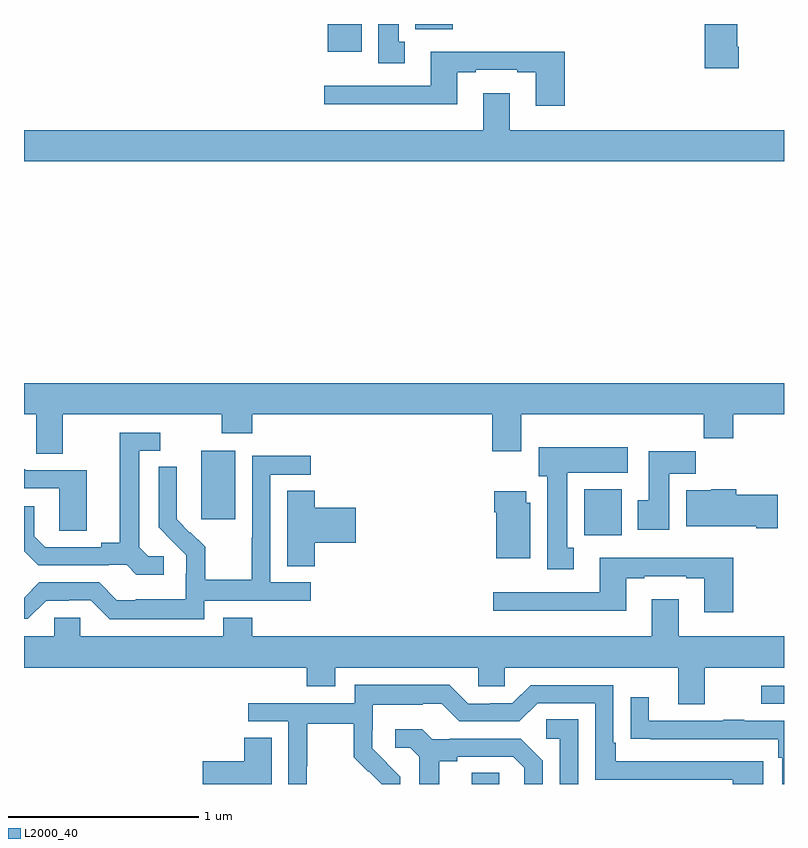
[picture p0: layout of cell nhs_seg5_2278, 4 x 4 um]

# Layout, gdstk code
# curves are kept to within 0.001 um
import gdstk
lib = gdstk.Library(unit=1e-6, precision=1e-09)
def R(c, l, rs):  # rectangles x0, y0, x1, y1
    for r in rs: c.add(gdstk.rectangle(r[:2], r[2:], *l))
def P(c, l, *ps):  # polygons
    for p in ps: c.add(gdstk.Polygon(p, *l))
L2000_40 = (2000, 40)

nhs_seg5_2278 = lib.new_cell('nhs_seg5_2278')
R(nhs_seg5_2278, L2000_40, [(245.357,870.799,245.502,870.857), (246.879,871.221,247,871.317), (245.948,872.108,246.145,872.35), (243.932,872.193,244.111,872.554), (244.598,874.652,244.777,874.799), (245.06,874.772,245.257,874.799)])
P(nhs_seg5_2278, L2000_40, [(246.762,874.678),(246.754,874.678),(246.754,874.799),(246.584,874.799),(246.584,874.566),(246.762,874.566)],
  [(245.005,874.706),(244.972,874.706),(244.972,874.799),(244.865,874.799),(244.865,874.593),(245.005,874.593)],
  [(245.846,874.654),(245.141,874.654),(245.141,874.473),(244.581,874.473),(244.581,874.376),(245.281,874.376),(245.281,874.545),(245.377,874.545),(245.377,874.557),(245.597,874.557),(245.597,874.545),(245.693,874.545),(245.693,874.368),(245.846,874.368)],
  [(247,874.24),(245.557,874.24),(245.557,874.435),(245.417,874.435),(245.417,874.24),(243,874.24),(243,874.076),(247,874.076)],
  [(243.205,872.744),(244.042,872.744),(244.042,872.645),(244.202,872.645),(244.202,872.744),(245.465,872.744),(245.465,872.55),(245.617,872.55),(245.617,872.744),(246.577,872.744),(246.577,872.62),(246.734,872.62),(246.734,872.744),(247,872.744),(247,872.908),(243,872.908),(243,872.744),(243.065,872.744),(243.065,872.536),(243.205,872.536)],
  [(243.736,871.998),(243.654,871.998),(243.607,872.045),(243.607,872.553),(243.718,872.553),(243.718,872.649),(243.503,872.649),(243.503,872.069),(243.407,872.069),(243.407,872.046),(243.112,872.046),(243.055,872.103),(243.055,872.26),(243,872.26),(243,872.024),(243.074,871.95),(243.446,871.95),(243.446,871.953),(243.54,871.953),(243.592,871.901),(243.736,871.901)],
  [(245.893,872.042),(245.86,872.042),(245.86,872.438),(246.178,872.438),(246.178,872.572),(245.708,872.572),(245.708,872.418),(245.753,872.418),(245.753,871.929),(245.893,871.929)],
  [(246.397,872.432),(246.536,872.432),(246.536,872.551),(246.287,872.551),(246.287,872.292),(246.23,872.292),(246.23,872.136),(246.397,872.136)],
  [(243.948,871.764),(244.51,871.764),(244.51,871.86),(244.296,871.86),(244.296,872.427),(244.51,872.427),(244.51,872.526),(244.2,872.526),(244.2,872.096),(244.198,872.096),(244.198,871.873),(243.953,871.873),(243.953,872.047),(243.876,872.124),(243.873,872.121),(243.803,872.192),(243.804,872.468),(243.708,872.468),(243.708,872.15),(243.854,872.002),(243.854,871.905),(243.852,871.905),(243.852,871.771),(243.589,871.771),(243.589,871.767),(243.489,871.767),(243.396,871.86),(243.081,871.86),(243,871.779),(243,871.668),(243.021,871.668),(243.117,871.764),(243.236,871.764),(243.236,871.767),(243.351,871.767),(243.451,871.667),(243.948,871.667)],
  [(243.331,872.451),(243.007,872.451),(243.007,872.455),(243,872.455),(243,872.355),(243.186,872.355),(243.186,872.131),(243.331,872.131)],
  [(246.967,872.322),(246.749,872.322),(246.749,872.35),(246.618,872.35),(246.618,872.344),(246.485,872.344),(246.485,872.156),(246.854,872.156),(246.854,872.144),(246.967,872.144)],
  [(244.529,872.069),(244.747,872.069),(244.747,872.252),(244.529,872.252),(244.529,872.342),(244.385,872.342),(244.385,871.945),(244.529,871.945)],
  [(245.665,872.28),(245.644,872.28),(245.644,872.341),(245.474,872.341),(245.474,872.228),(245.486,872.228),(245.486,871.988),(245.665,871.988)],
  [(246.734,871.99),(246.029,871.99),(246.029,871.809),(245.469,871.809),(245.469,871.712),(246.169,871.712),(246.169,871.881),(246.265,871.881),(246.265,871.893),(246.485,871.893),(246.485,871.881),(246.581,871.881),(246.581,871.704),(246.734,871.704)],
  [(246.583,871.412),(247,871.412),(247,871.576),(246.445,871.576),(246.445,871.771),(246.305,871.771),(246.305,871.576),(244.202,871.576),(244.202,871.675),(244.049,871.675),(244.049,871.576),(243.297,871.576),(243.297,871.674),(243.159,871.674),(243.159,871.576),(243,871.576),(243,871.412),(244.487,871.412),(244.487,871.313),(244.639,871.313),(244.639,871.412),(245.391,871.412),(245.391,871.314),(245.529,871.314),(245.529,871.412),(246.443,871.412),(246.443,871.218),(246.583,871.218)],
  [(244.488,870.892),(244.491,870.892),(244.491,871.116),(244.735,871.116),(244.735,870.941),(244.812,870.864),(244.815,870.867),(244.884,870.799),(244.98,870.799),(244.98,870.838),(244.834,870.986),(244.834,871.083),(244.836,871.083),(244.836,871.217),(245.099,871.217),(245.099,871.221),(245.199,871.221),(245.292,871.128),(245.607,871.128),(245.703,871.224),(246.006,871.224),(246.006,870.822),(246.731,870.822),(246.731,870.799),(246.892,870.799),(246.892,870.918),(246.115,870.918),(246.115,871.015),(246.102,871.015),(246.102,871.32),(245.667,871.32),(245.571,871.224),(245.453,871.224),(245.453,871.221),(245.337,871.221),(245.237,871.321),(244.74,871.321),(244.74,871.224),(244.179,871.224),(244.179,871.128),(244.392,871.128),(244.392,870.799),(244.488,870.799)],
  [(247,871.131),(246.791,871.131),(246.791,871.136),(246.679,871.136),(246.679,871.131),(246.289,871.131),(246.289,871.255),(246.193,871.255),(246.193,871.036),(246.295,871.036),(246.295,871.035),(246.97,871.035),(246.97,870.938),(246.99,870.938),(246.99,870.799),(247,870.799)],
  [(245.916,871.139),(245.748,871.139),(245.748,871.038),(245.82,871.038),(245.82,870.799),(245.916,870.799)],
  [(245.185,870.92),(245.281,870.92),(245.281,870.942),(245.576,870.942),(245.633,870.885),(245.633,870.799),(245.73,870.799),(245.73,870.922),(245.614,871.038),(245.242,871.038),(245.242,871.035),(245.148,871.035),(245.096,871.087),(244.953,871.087),(244.953,870.99),(245.034,870.99),(245.081,870.943),(245.081,870.799),(245.185,870.799)],
  [(244.303,871.043),(244.16,871.043),(244.16,870.92),(243.942,870.92),(243.942,870.799),(244.303,870.799)])

lib.write_gds('nhs_seg5_2278.gds')
